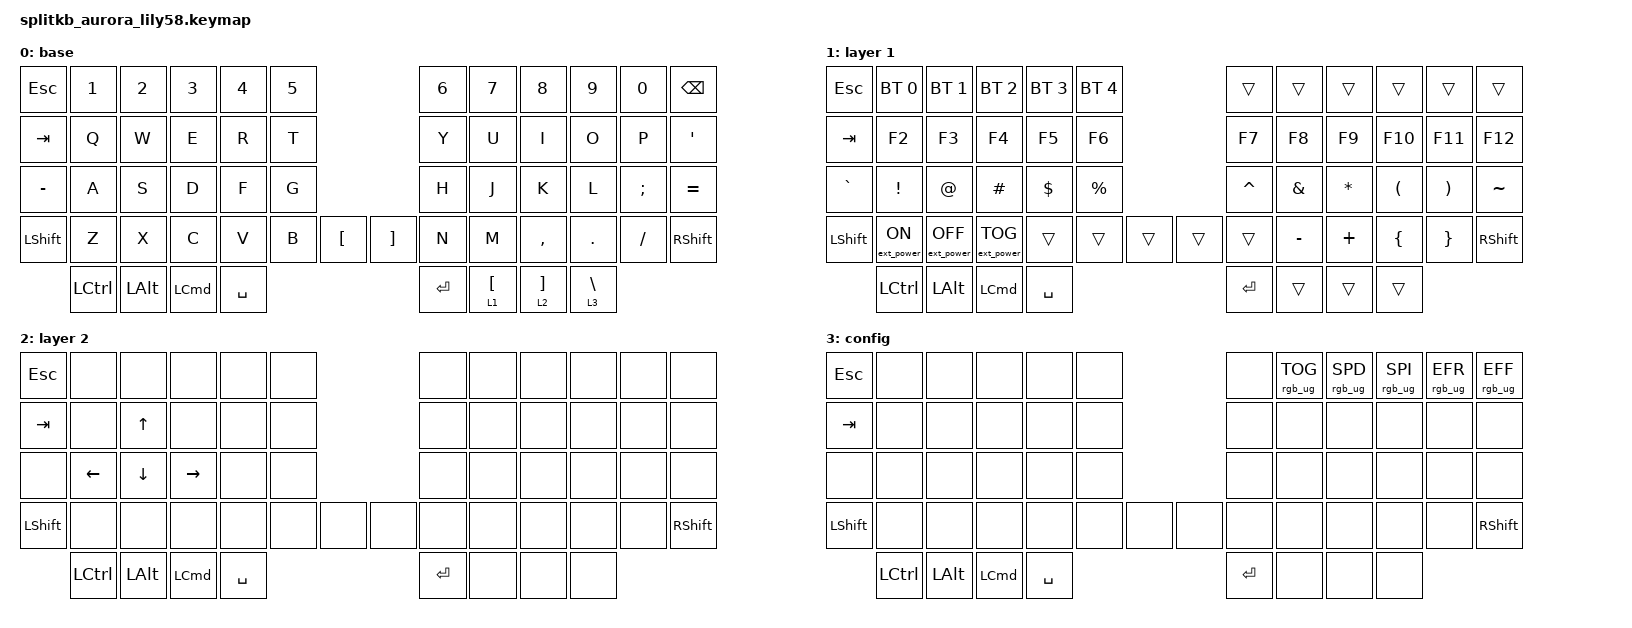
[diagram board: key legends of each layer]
/*
 * Copyright (c) 2022 The ZMK Contributors
 *
 * SPDX-License-Identifier: MIT
 */

#include <behaviors.dtsi>
#include <dt-bindings/zmk/keys.h>
#include <dt-bindings/zmk/bt.h>
#include <dt-bindings/zmk/ext_power.h>
#include <dt-bindings/zmk/rgb.h>

&led_strip { chain-length = <58>; };

// move nice!view CS pin to D0
&nice_view_spi {
	cs-gpios = <&pro_micro 0 GPIO_ACTIVE_HIGH>;
};


/ {
    keymap {
        compatible = "zmk,keymap";

        default_layer {
	display-name = "base";
// ------------------------------------------------------------------------------------------------------------
// | ESC  |  1  |  2  |  3   |  4   |  5   |                   |  6   |  7    |  8    |  9   |   0   |   `   |
// | TAB  |  Q  |  W  |  E   |  R   |  T   |                   |  Y   |  U    |  I    |  O   |   P   |   -   |
// | MINUS |  A  |  S  |  D   |  F   |  G   |                   |  H   |  J    |  K    |  L   |   ;   |   '   |
// | SHIFT |  Z  |  X  |  C   |  V   |  B   |   "["  |  |  "]"  |  N   |  M    |  ,    |  .   |   /   | SHIFT |
//                     | CTRL  | LALT  | CMD|  SPACE |  | ENTER | LAYER1| LAYER2  | LAYER3   |
            bindings = <
&kp ESC   	&kp N1 &kp N2 &kp N3   &kp N4   &kp N5                     &kp N6 &kp N7   &kp N8    &kp N9  &kp N0   &kp BSPC
&kp TAB   	&kp Q  &kp W  &kp E    &kp R    &kp T                      &kp Y  &kp U    &kp I     &kp O   &kp P    &kp APOS
&kp MINUS 	&kp A  &kp S  &kp D    &kp F    &kp G                      &kp H  &kp J    &kp K     &kp L   &kp SEMI &kp EQUAL
&kp LSHFT 	&kp Z  &kp X  &kp C    &kp V    &kp B  &kp LBKT   &kp RBKT &kp N  &kp M    &kp COMMA &kp DOT &kp FSLH &kp RSHFT
        &kp LCTRL &kp LALT &kp LCMD  &kp SPACE  					&kp RET  &lt 1 LBKT  &lt 2 RBKT &lt 3 BSLH
            >;

        };

        lower_layer {
	display-name = "layer 1";
// ------------------------------------------------------------------------------------------------------------
// | BTCLR | BT1 | BT2 |  BT3 |  BT4 |  BT5 |                   |      |       |       |      |       |       |
// |  F1   |  F2 |  F3 |  F4  |  F5  |  F6  |                   |  F7  |  F8   |  F9   |  F10 |  F11  |  F12  |
// |   `   |  !  |  @  |  #   |  $   |  %   |                   |  ^   |  &    |  *    |  (   |   )   |   ~   |
// |       |     |     |      |      |      |        |  |       |      |  _    |  +    |  {   |   }   |  "|"  |
//                     |      |      |      |        |  |       |      |       |       |
            bindings = <
&kp ESC &bt BT_SEL 0     &bt BT_SEL 1      &bt BT_SEL 2      &bt BT_SEL 3 &bt BT_SEL 4                 &trans    &trans    &trans          &trans    &trans    &trans
&kp TAB     &kp F2           &kp F3            &kp F4            &kp F5       &kp F6                       &kp F7    &kp F8    &kp F9          &kp F10   &kp F11   &kp F12
&kp GRAVE  &kp EXCL         &kp AT            &kp HASH          &kp DOLLAR   &kp PRCNT                    &kp CARET &kp AMPS  &kp STAR         &kp LPAR  &kp RPAR  &kp TILDE
&kp LSHFT     &ext_power EP_ON &ext_power EP_OFF &ext_power EP_TOG &trans       &trans    &trans   &trans    &trans    &kp MINUS &kp PLUS        &kp LBRC  &kp RBRC  &kp RSHFT
                                              &kp LCTRL &kp LALT &kp LCMD  &kp SPACE  					&kp RET    &trans    &trans    &trans
            >;

        };

        raise_layer {
	display-name = "layer 2";
// ------------------------------------------------------------------------------------------------------------
// |       |     |     |      |      |      |                   |      |       |       |      |       |       |
// |   `   |  1  |  2  |  3   |  4   |  5   |                   |  6   |   7   |   8   |  9   |   0   |       |
// |   F1  |  F2 |  F3 |  F4  |  F5  |  F6  |                   |      |   <-  |   v   |  ^   |  ->   |       |
// |   F7  |  F8 |  F9 |  F10 |  F11 |  F12 |        |  |       |  +   |   -   |   =   |  [   |   ]   |   \   |
//                     |      |      |      |        |  |       |      |       |       |
            bindings = <
&kp ESC &none &none &none &none &none                    &none &none &none &none &none &none
&kp TAB &none &kp UP &none &none &none                    &none &none &none &none &none &none
&none &kp LEFT &kp DOWN &kp RIGHT &none &none                    &none &none &none &none &none &none
&kp LSHFT &none &none &none &none &none   &none   &none    &none &none &none &none &none &kp RSHFT
        	  &kp LCTRL &kp LALT &kp LCMD  &kp SPACE  					&kp RET    &none &none &none
            >;

        };

        config {
	display-name = "config";
// ------------------------------------------------------------------------------------------------------------
// |       |     |     |      |      |      |                   |      |       |       |      |       |       |
// |   `   |  1  |  2  |  3   |  4   |  5   |                   |  6   |   7   |   8   |  9   |   0   |       |
// |   F1  |  F2 |  F3 |  F4  |  F5  |  F6  |                   |      |   <-  |   v   |  ^   |  ->   |       |
// |   F7  |  F8 |  F9 |  F10 |  F11 |  F12 |        |  |       |  +   |   -   |   =   |  [   |   ]   |   \   |
//                     |      |      |      |        |  |       |      |       |       |
            bindings = <
&kp ESC &none &none &none &none &none                    &none &rgb_ug RGB_TOG &rgb_ug RGB_SPD &rgb_ug RGB_SPI &rgb_ug RGB_EFR &rgb_ug RGB_EFF
&kp TAB &none &none &none &none &none                    &none &none 	     &none 	     &none 	     &none 	     &none
&none &none &none &none &none &none                    &none &none 	     &none 	     &none 	     &none 	     &none
&kp LSHFT &none &none &none &none &none   &none   &none    &none &none &none &none &none &kp RSHFT
        	  &kp LCTRL &kp LALT &kp LCMD  &kp SPACE  					&kp RET    &none &none &none
            >;

        };
    };
};
